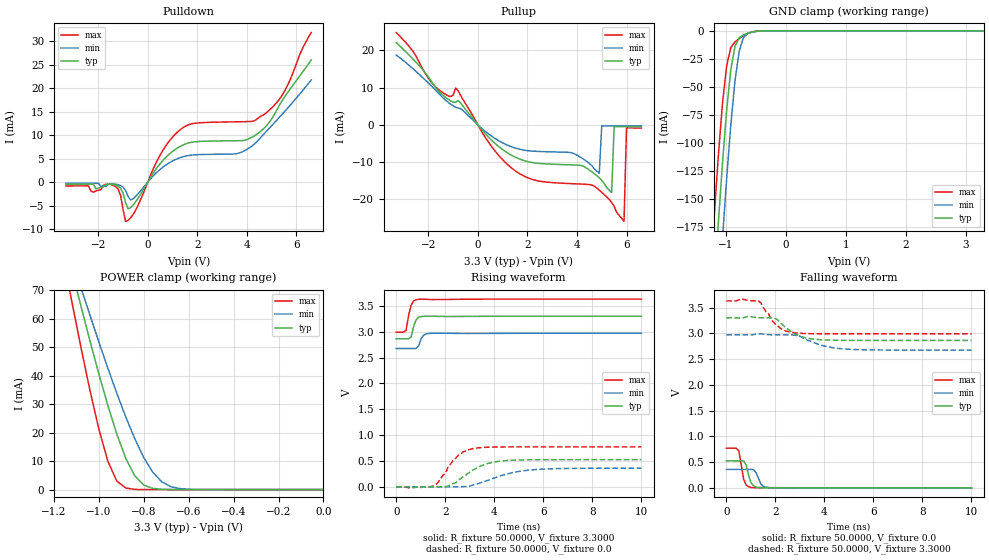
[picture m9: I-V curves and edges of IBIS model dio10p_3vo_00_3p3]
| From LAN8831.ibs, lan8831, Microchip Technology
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|   Model dio10p_3vo_00_3p3
[Model]  dio10p_3vo_00_3p3
Model_type I/O
Polarity   Non-Inverting
Enable   Active-Low
Vinl =   0.0V
Vinh =   3.3000V
Vmeas =  1.6500V
Vref =   0.0V
C_comp   5.0000pF   5.0000pF   5.0000pF
[Temperature Range]   42.0000   0.1250k   -40.0000
[Voltage Range]   3.3000V   2.9700V   3.6300V
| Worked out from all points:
|   slope of the pulldown table from 0 to 0.495 V, typ, clamps not added: 127 ohm
|   slope of the pullup table from 0 to 0.495 V, typ, clamps not added: 132 ohm
|   GND clamp passes 1 mA (typ) near -0.56 V on its own axis
|   POWER clamp passes 1 mA (typ) near -0.78 V on its own axis
|   rising waveform, R_fixture 50.0000, V_fixture 3.3000: 20-80 % time 162ps typ, 166ps min, 170ps max; typ from 2.86 V to 3.3 V
|   rising waveform, R_fixture 50.0000, V_fixture 0.0: 20-80 % time 1.05ns typ, 1.49ns min, 754ps max; typ from 0 V to 0.524 V
|   falling waveform, R_fixture 50.0000, V_fixture 0.0: 20-80 % time 183ps typ, 198ps min, 170ps max; typ from 0.524 V to 0 V
|   falling waveform, R_fixture 50.0000, V_fixture 3.3000: 20-80 % time 793ps typ, 1.08ns min, 642ps max; typ from 3.3 V to 2.86 V
[Pulldown]
|Voltage   I(typ)   I(min)   I(max)
-3.3V     -469.4uA   -267.6uA   -835.9uA
-1.3V     -636.5uA   -452.2uA   -942.1uA
-1.1V     -1.315mA   -746.2uA   -2.826mA
-900mV    -4.297mA   -1.781mA   -8.356mA
-800mV    -5.69mA    -3.009mA   -8.162mA
500mV     3.928mA    2.717mA    5.774mA
1.1V      6.917mA    4.753mA    10.15mA
1.8V      8.504mA    5.766mA    12.44mA
3.7V      8.818mA    6.226mA    12.84mA
4.7V      11.48mA    10.29mA    14.4mA
5.5V      17.95mA    14.88mA    19.16mA
6.6V      25.99mA    21.75mA    31.84mA
[Pullup]
|Voltage   I(typ)   I(min)   I(max)
-3.3V     22.14mA    18.76mA    24.81mA
-1.7V     9.981mA    9.27mA     10.15mA
-900mV    6.115mA    4.735mA    9.944mA
1.7V      -9.213mA   -6.554mA   -13.17mA
3.8V      -10.74mA   -7.522mA   -15.79mA
4.9V      -14.22mA   -12.97mA   -17.52mA
5V        -14.9mA    -252.2uA   -18.11mA
5.4V      -18.19mA   -258.1uA   -20.82mA
5.5V      -445.9uA   -259.4uA   -21.85mA
5.9V      -457uA     -264.2uA   -25.9mA
6V        -459.2uA   -265.3uA   -802uA
6.6V      -471.1uA   -271.9uA   -829.5uA
[GND_clamp]
|Voltage   I(typ)   I(min)   I(max)
-3.3V     -2.15A     -2.209A    -2.1A
-1.27V    -288.4mA   -359.5mA   -225.4mA
-1.2V     -229.1mA   -299.7mA   -166.9mA
-1.13V    -171.9mA   -241.4mA   -112.1mA
-1.06V    -118.1mA   -184.9mA   -64.73mA
-990mV    -70.49mA   -131.6mA   -31.02mA
-920mV    -34.14mA   -83.35mA   -14.85mA
-850mV    -13.56mA   -43.87mA   -9.884mA
-780mV    -6.166mA   -17.92mA   -6.843mA
-710mV    -3.679mA   -6.17mA    -4.35mA
-360mV    -21.94uA   -52.7uA    -4.997uA
3.3V      978.8pA    61.69nA    807.4pA
[POWER_clamp]
|Voltage   I(typ)   I(min)   I(max)
-3.28V    820.8mA    663.8mA    1.036A
-1.16V    89.77mA    90.77mA    82.4mA
-1.12V    77.07mA    80.82mA    66.03mA
-1.08V    64.6mA     71mA       50.17mA
-1.04V    52.45mA    61.34mA    35.12mA
-960mV    29.66mA    42.7mA     10.06mA
-920mV    19.55mA    33.87mA    3.016mA
-880mV    11mA       25.53mA    557.8uA
-800mV    1.595mA    11.28mA    12.04uA
-720mV    103.3uA    2.757mA    250.7nA
-640mV    5.814uA    357.2uA    9.889nA
0V        978.8pA    4.152nA    1.25nA
[Ramp]
| variable   typ   min   max
dV/dt_r  0.3144/1.0629n   0.2151/1.4682n   0.4625/0.7754n
dV/dt_f  0.2628/0.7858n   0.1774/1.0700n   0.3833/0.5721n
R_load = 50.0000
[Rising Waveform]
R_fixture= 50.0000
V_fixture= 3.3000
V_fixture_min= 2.9700
V_fixture_max= 3.6300
|time   V(typ)   V(min)   V(max)
0s        2.862V     2.674V     2.991V
400ps     2.862V     2.674V     3.025V
510ps     2.862V     2.675V     3.324V
610ps     2.9V       2.675V     3.513V
710ps     3.101V     2.674V     3.594V
810ps     3.229V     2.675V     3.618V
910ps     3.279V     2.722V     3.626V
1.11ns    3.297V     2.929V     3.628V
1.41ns    3.3V       2.968V     3.622V
10ns      3.3V       2.97V      3.63V
[Rising Waveform]
R_fixture= 50.0000
V_fixture= 0.0
V_fixture_min= 0.0
V_fixture_max= 0.0
|time   V(typ)   V(min)   V(max)
0s        213.2uV    140.8uV    431.1uV
510ps     501.7uV    253.7uV    -21.65mV
1.52ns    -427.5uV   -189.8uV   16.63mV
2.02ns    1.382mV    -139.3uV   268mV
2.12ns    13.84mV    -298.8uV   388.2mV
2.53ns    126.2mV    -1.425mV   608.5mV
3.13ns    324.1mV    32.07mV    739.2mV
3.94ns    474.2mV    158.6mV    767.7mV
5.35ns    520.8mV    318.5mV    770.7mV
10ns      524mV      358.5mV    770.8mV
[Falling Waveform]
R_fixture= 50.0000
V_fixture= 0.0
V_fixture_min= 0.0
V_fixture_max= 0.0
|time   V(typ)   V(min)   V(max)
0s        523.6mV    358.3mV    770.2mV
400ps     523.8mV    358.6mV    770.3mV
510ps     523.7mV    358.5mV    719.5mV
710ps     521.7mV    358.4mV    161.7mV
810ps     439.9mV    358.4mV    53.02mV
1.01ns    95.25mV    359mV      8.655mV
1.21ns    14.98mV    297.1mV    3.521mV
1.41ns    2.619mV    74.77mV    5.165mV
1.72ns    1.027mV    6.178mV    3.685mV
10ns      1.638uV    560nV      -1.012uV
[Falling Waveform]
R_fixture= 50.0000
V_fixture= 3.3000
V_fixture_min= 2.9700
V_fixture_max= 3.6300
|time   V(typ)   V(min)   V(max)
0s        3.3V       2.97V      3.629V
610ps     3.299V     2.97V      3.664V
1.31ns    3.303V     2.99V      3.628V
1.82ns    3.301V     2.972V     3.268V
2.02ns    3.283V     2.971V     3.168V
2.42ns    3.109V     2.971V     3.044V
2.83ns    2.977V     2.96V      3.006V
3.94ns    2.873V     2.759V     2.992V
4.75ns    2.864V     2.699V     2.991V
10ns      2.862V     2.674V     2.991V
